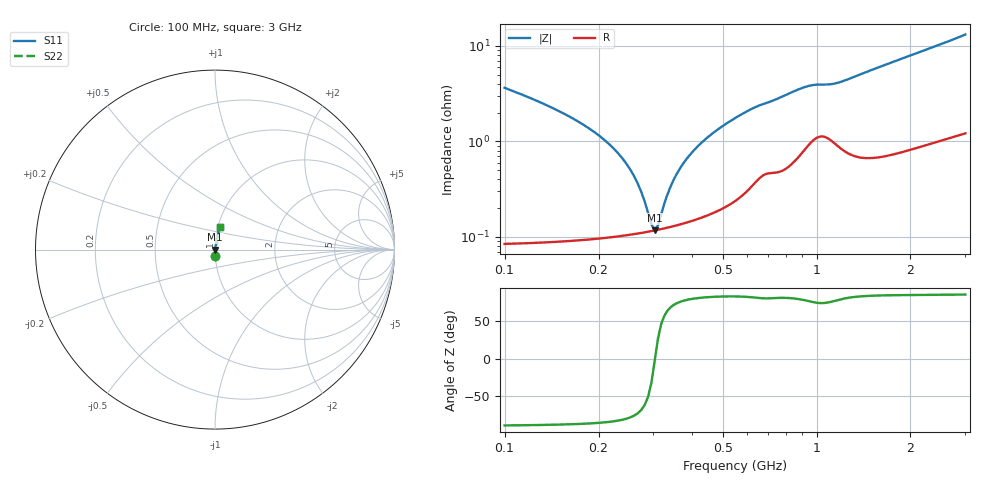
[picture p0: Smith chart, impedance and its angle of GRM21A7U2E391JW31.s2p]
!Murata Part Number: GRM21A7U2E391JW31
!These Parameters are Measured in Series Mode Connection
!Data Generated on Mar 30, 2021
!  o--ll--o
!Port1  Port2
!  o------o
!Operation Temp=25[degC], DC Bias Voltage=0[V]
!Freq. Start=100[MHz] Stop=3[GHz] 401[Steps]
# Hz S RI R 50
!Freq.(Hz) S11(Real) S11(Imag) S21(Real) S21(Imag) S12(Real) S12(Imag) S22(Real) S22(Imag)
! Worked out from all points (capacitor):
!   401 points, 100 MHz to 3 GHz, reference 50 ohm
!   read as one part in series: C = 390 pF near 114.5 MHz
!   lowest |Z| = 117 mohm at 303 MHz (marker M1)
!   series resonance near 303.5 MHz, so ESL is about 710 pH
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1e8  0.00217 -0.0363  0.9978 0.0363  0.9978 0.0363  0.00217 -0.0363
1.7975e8  0.00115 -0.0147  0.9989 0.0147  0.9989 0.0147  0.00115 -0.0147
2.305e8  0.00107 -0.00751  0.9989 0.00751  0.9989 0.00751  0.00107 -0.00751
2.595e8  0.00109 -0.00424  0.9989 0.00424  0.9989 0.00424  0.00109 -0.00424
2.885e8  0.00114 -0.00137  0.9989 0.00137  0.9989 0.00137  0.00114 -0.00137
2.9575e8  0.00115 -0.000702  0.9988 0.000702  0.9988 0.000702  0.00115 -0.000702
3.03e8  0.00117 -4.75e-05  0.9988 4.75e-05  0.9988 4.75e-05  0.00117 -4.75e-05
3.1025e8  0.00119 0.000592  0.9988 -0.000592  0.9988 -0.000592  0.00119 0.000592
3.175e8  0.00121 0.00122  0.9988 -0.00122  0.9988 -0.00122  0.00121 0.00122
3.3925e8  0.00128 0.00302  0.9987 -0.00302  0.9987 -0.00302  0.00128 0.00302
3.5375e8  0.00133 0.00417  0.9987 -0.00417  0.9987 -0.00417  0.00133 0.00417
3.755e8  0.00142 0.00582  0.9986 -0.00582  0.9986 -0.00582  0.00142 0.00582
3.9725e8  0.00152 0.0074  0.9985 -0.0074  0.9985 -0.0074  0.00152 0.0074
4.335e8  0.00171 0.00992  0.9983 -0.00992  0.9983 -0.00992  0.00171 0.00992
4.77e8  0.002 0.0128  0.998 -0.0128  0.998 -0.0128  0.002 0.0128
5.8575e8  0.0032 0.0196  0.9968 -0.0196  0.9968 -0.0196  0.0032 0.0196
8.83e8  0.00822 0.0342  0.9918 -0.0342  0.9918 -0.0342  0.00822 0.0342
1.0715e9  0.0123 0.0369  0.9877 -0.0369  0.9877 -0.0369  0.0123 0.0369
1.55e9  0.00998 0.0569  0.99 -0.0569  0.99 -0.0569  0.00998 0.0569
2.03575e9  0.0145 0.0786  0.9855 -0.0786  0.9855 -0.0786  0.0145 0.0786
2.5215e9  0.0206 0.1012  0.9794 -0.1012  0.9794 -0.1012  0.0206 0.1012
3e9  0.0283 0.1258  0.9717 -0.1258  0.9717 -0.1258  0.0283 0.1258
